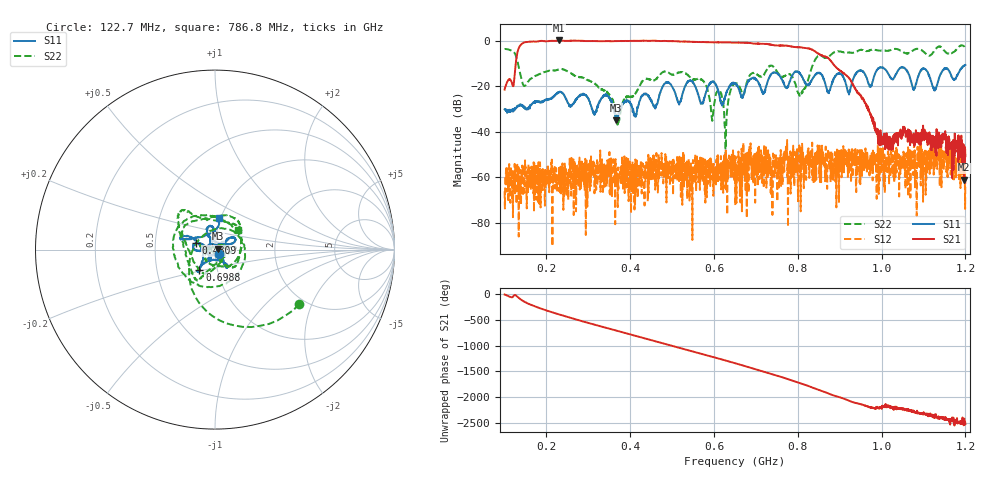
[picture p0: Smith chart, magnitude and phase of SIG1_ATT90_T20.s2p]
# Hz S DB R 50
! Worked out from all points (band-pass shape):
!   1601 points, 100 MHz to 1.2 GHz, reference 50 ohm
!   highest |S21| = 0.19 dB at 229.2 MHz (marker M1); lowest = -61.0 dB at 1.197 GHz (marker M2)
!   |S21| within 3 dB of the highest: 134.7 MHz to 799.8 MHz (665.1 MHz wide, 142 % of centre); 799.9254 MHz to 803.6194 MHz (3.694 MHz wide, 0.461 % of centre)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
!   lowest |S11| = -34.9 dB at 365.4 MHz (marker M3), VSWR 1.04, Z = 51.8 + j0.554 ohm
!   |S11| at or under -10 dB: start of sweep to end of sweep
!   |S22| runs from -50.0 to -2.0 dB; largest |S21 - S12| = 1
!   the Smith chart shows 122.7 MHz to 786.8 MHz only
!   S11 on the Smith chart (normalised r, x): 122.7 MHz: 1.04, -0.05; 480.9 MHz: 0.80, +0.06; 698.8 MHz: 0.82, -0.19; 786.8 MHz: 0.99, +0.36
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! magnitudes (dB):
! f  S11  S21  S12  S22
! 100 MHz  -30.1  -21.4  -66.1  -3.6
! 122.7 MHz  -30.2  -17.7  -57.8  -5.0
! 147.4 MHz  -28.9  -0.7  -66.7  -19.8
! 229.2 MHz  -22.8  0.2  -66.0  -12.6
! 283.6 MHz  -23.6  0.0  -61.9  -16.0
! 365.4 MHz  -34.9  -0.1  -60.9  -30.6
! 467.1 MHz  -25.9  0.0  -57.6  -15.5
! 480.9 MHz  -18.9  0.0  -54.0  -13.4
! 571.6 MHz  -27.2  -0.5  -52.5  -17.3
! 595.7 MHz  -17.8  -0.6  -57.9  -35.2
! 612.9 MHz  -23.9  -0.6  -54.4  -21.7
! 627.3 MHz  -23.9  -0.7  -64.8  -49.4
! 650 MHz  -18.8  -0.7  -51.4  -18.7
! 698.8 MHz  -16.9  -1.2  -55.6  -14.3
! 786.8 MHz  -15.1  -2.5  -51.4  -15.5
! 806.1 MHz  -14.5  -2.8  -48.1  -23.2
! 833.6 MHz  -17.1  -3.8  -58.5  -11.6
! 1.017 GHz  -14.9  -47.9  -49.4  -4.2
! 1.102 GHz  -12.2  -43.6  -48.7  -5.0
! 1.126 GHz  -21.0  -47.1  -55.5  -4.2
! 1.197 GHz  -10.7  -61.0  -60.4  -2.4
! 1.2 GHz  -10.5  -50.7  -58.0  -3.1
